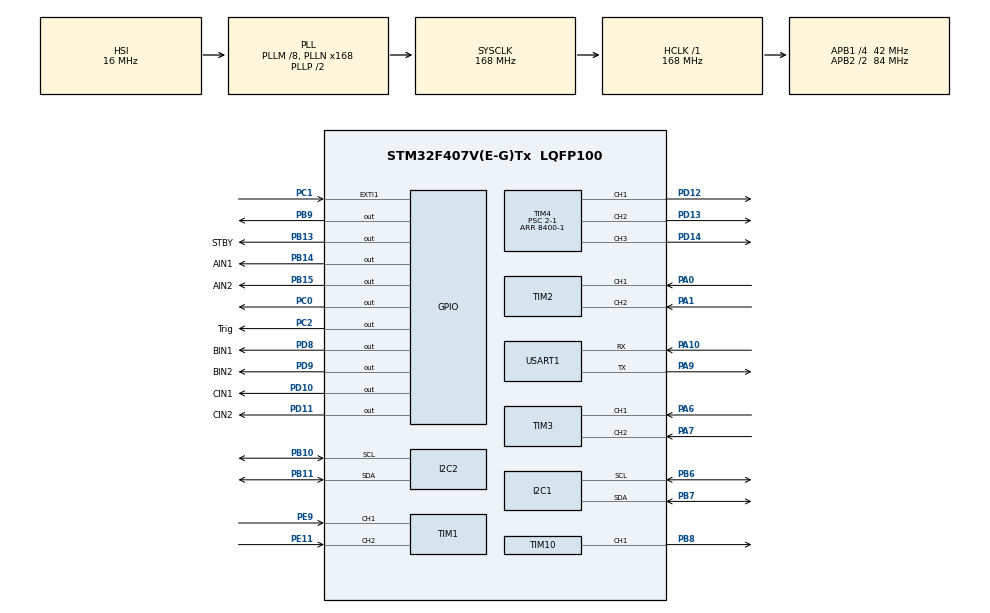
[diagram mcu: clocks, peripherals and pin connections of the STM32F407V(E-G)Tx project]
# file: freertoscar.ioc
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Dma.Request0=USART1_RX
Dma.USART1_RX.0.Direction=DMA_PERIPH_TO_MEMORY
Dma.USART1_RX.0.FIFOMode=DMA_FIFOMODE_DISABLE
Dma.USART1_RX.0.Instance=DMA2_Stream2
Dma.USART1_RX.0.MemDataAlignment=DMA_MDATAALIGN_BYTE
Dma.USART1_RX.0.MemInc=DMA_MINC_ENABLE
Dma.USART1_RX.0.Mode=DMA_NORMAL
Dma.USART1_RX.0.PeriphDataAlignment=DMA_PDATAALIGN_BYTE
Dma.USART1_RX.0.PeriphInc=DMA_PINC_DISABLE
Dma.USART1_RX.0.Priority=DMA_PRIORITY_VERY_HIGH
FREERTOS.Tasks01=defaultTask,16,128,StartDefaultTask,Default,NULL,Dynamic,NULL,NULL;PIDTask02,32,256,Pid_task,As external,NULL,Dynamic,NULL,NULL;UTTask,32,256,UT_Task,As external,NULL,Dynamic,NULL,NULL;mpu6050,25,256,Mpu6050,As external,NULL,Dynamic,NULL,NULL
I2C1.I2C_Mode=I2C_Standard
I2C2.I2C_Mode=I2C_Fast
Mcu.Family=STM32F4
Mcu.Name=STM32F407V(E-G)Tx
Mcu.Package=LQFP100
NVIC.DMA2_Stream2_IRQn=true\:5\:0\:false\:false\:true\:true\:false\:true\:true
NVIC.EXTI1_IRQn=true\:5\:0\:true\:false\:true\:true\:true\:true\:true
NVIC.PriorityGroup=NVIC_PRIORITYGROUP_4
NVIC.TIM1_TRG_COM_TIM11_IRQn=true\:15\:0\:false\:false\:true\:false\:false\:true\:true
NVIC.TIM8_UP_TIM13_IRQn=true\:5\:0\:true\:false\:true\:true\:true\:true\:true
NVIC.TimeBase=TIM1_TRG_COM_TIM11_IRQn
NVIC.TimeBaseIP=TIM11
NVIC.USART1_IRQn=true\:5\:0\:false\:false\:true\:true\:true\:true\:true
PA0-WKUP.GPIO_PuPd=GPIO_PULLUP
PA0-WKUP.Signal=S_TIM2_CH1_ETR
PA1.GPIO_PuPd=GPIO_PULLUP
PA1.Signal=S_TIM2_CH2
PA10.Mode=Asynchronous
PA10.Signal=USART1_RX
PA13.Mode=Serial_Wire
PA13.Signal=SYS_JTMS-SWDIO
PA14.Mode=Serial_Wire
PA14.Signal=SYS_JTCK-SWCLK
PA6.GPIO_PuPd=GPIO_PULLUP
PA6.Signal=S_TIM3_CH1
PA7.GPIO_PuPd=GPIO_PULLUP
PA7.Signal=S_TIM3_CH2
PA9.Mode=Asynchronous
PA9.Signal=USART1_TX
PB10.Mode=I2C
PB10.Signal=I2C2_SCL
PB11.Mode=I2C
PB11.Signal=I2C2_SDA
PB13.GPIO_Label=STBY
PB13.Signal=GPIO_Output
PB14.GPIO_Label=AIN1
PB14.Signal=GPIO_Output
PB15.GPIO_Label=AIN2
PB15.Signal=GPIO_Output
PB6.Mode=I2C
PB6.Signal=I2C1_SCL
PB7.Mode=I2C
PB7.Signal=I2C1_SDA
PB8.Signal=S_TIM10_CH1
PB9.GPIO_ModeDefaultOutputPP=GPIO_MODE_OUTPUT_PP
PB9.GPIO_PuPd=GPIO_NOPULL
PB9.Signal=GPIO_Output
PC0.Signal=GPIO_Output
PC1.GPIO_ModeDefaultEXTI=GPIO_MODE_IT_RISING_FALLING
PC1.Signal=GPXTI1
PC2.GPIO_Label=Trig
PC2.Signal=GPIO_Output
PD10.GPIO_Label=CIN1
PD10.Signal=GPIO_Output
PD11.GPIO_Label=CIN2
PD11.Signal=GPIO_Output
PD12.Signal=S_TIM4_CH1
PD13.Signal=S_TIM4_CH2
PD14.Signal=S_TIM4_CH3
PD8.GPIO_Label=BIN1
PD8.Signal=GPIO_Output
PD9.GPIO_Label=BIN2
PD9.Signal=GPIO_Output
PE11.GPIO_PuPd=GPIO_PULLUP
PE11.Signal=S_TIM1_CH2
PE9.GPIO_PuPd=GPIO_PULLUP
PE9.Signal=S_TIM1_CH1
PH0-OSC_IN.Mode=HSE-External-Oscillator
PH0-OSC_IN.Signal=RCC_OSC_IN
PH1-OSC_OUT.Mode=HSE-External-Oscillator
PH1-OSC_OUT.Signal=RCC_OSC_OUT
ProjectManager.HeapSize=0x200
ProjectManager.StackSize=0x400
ProjectManager.TargetToolchain=MDK-ARM V5.32
RCC.48MHZClocksFreq_Value=84000000
RCC.AHBFreq_Value=168000000
RCC.APB1CLKDivider=RCC_HCLK_DIV4
RCC.APB1Freq_Value=42000000
RCC.APB1TimFreq_Value=84000000
RCC.APB2CLKDivider=RCC_HCLK_DIV2
RCC.APB2Freq_Value=84000000
RCC.APB2TimFreq_Value=168000000
RCC.CortexFreq_Value=168000000
RCC.HCLKFreq_Value=168000000
RCC.HSE_VALUE=25000000
RCC.HSI_VALUE=16000000
RCC.LSE_VALUE=32768
RCC.PLLM=8
RCC.PLLN=168
RCC.SYSCLKFreq_VALUE=168000000
RCC.SYSCLKSource=RCC_SYSCLKSOURCE_PLLCLK
RCC.VCOOutputFreq_Value=336000000
SH.S_TIM10_CH1.0=TIM10_CH1,PWM Generation1 CH1
SH.S_TIM1_CH1.0=TIM1_CH1,Encoder_Interface
SH.S_TIM1_CH2.0=TIM1_CH2,Encoder_Interface
SH.S_TIM2_CH1_ETR.0=TIM2_CH1,Encoder_Interface
SH.S_TIM2_CH2.0=TIM2_CH2,Encoder_Interface
SH.S_TIM3_CH1.0=TIM3_CH1,Encoder_Interface
SH.S_TIM3_CH2.0=TIM3_CH2,Encoder_Interface
SH.S_TIM4_CH1.0=TIM4_CH1,PWM Generation1 CH1
SH.S_TIM4_CH2.0=TIM4_CH2,PWM Generation2 CH2
SH.S_TIM4_CH3.0=TIM4_CH3,PWM Generation3 CH3
TIM1.EncoderMode=TIM_ENCODERMODE_TI12
TIM1.IC1Filter=6
TIM1.IC2Filter=6
TIM10.Channel=TIM_CHANNEL_1
TIM10.Period=199
TIM10.Prescaler=16799
TIM2.EncoderMode=TIM_ENCODERMODE_TI12
TIM2.IC1Filter=6
TIM2.IC2Filter=6
TIM3.EncoderMode=TIM_ENCODERMODE_TI12
TIM3.IC1Filter=6
TIM3.IC2Filter=6
TIM4.Channel-PWM\ Generation1\ CH1=TIM_CHANNEL_1
TIM4.Channel-PWM\ Generation2\ CH2=TIM_CHANNEL_2
TIM4.Channel-PWM\ Generation3\ CH3=TIM_CHANNEL_3
TIM4.Period=8400-1
TIM4.Prescaler=2-1
TIM6.Prescaler=167
TIM7.Prescaler=167
TIM8.Period=16799
TIM8.Prescaler=199
USART1.VirtualMode=VM_ASYNC
VP_FREERTOS_VS_CMSIS_V2.Mode=CMSIS_V2
VP_SYS_VS_tim11.Mode=TIM11
VP_TIM10_VS_ClockSourceINT.Mode=Enable_Timer
VP_TIM4_VS_ClockSourceINT.Mode=Internal
VP_TIM6_VS_ClockSourceINT.Mode=Enable_Timer
VP_TIM7_VS_ClockSourceINT.Mode=Enable_Timer
VP_TIM8_VS_ClockSourceINT.Mode=Internal
board=custom

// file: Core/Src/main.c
/* USER CODE BEGIN Header */
/**
  ******************************************************************************
  * @file           : main.c
  * @brief          : Main program body
  ******************************************************************************
  * @attention
  *
  * Copyright (c) 2024 STMicroelectronics.
  * All rights reserved.
  *
  * This software is licensed under terms that can be found in the LICENSE file
  * in the root directory of this software component.
  * If no LICENSE file comes with this software, it is provided AS-IS.
  *
  ******************************************************************************
  */
/* USER CODE END Header */
#include "main.h"
#include "cmsis_os.h"
#include "dma.h"
#include "i2c.h"
#include "tim.h"
#include "usart.h"
#include "gpio.h"

/* USER CODE BEGIN Includes */
#include "stdio.h"
#include "oled.h"
#include "motor.h"
#include "UT.h"
#include "pid.h"
#include "Mpu6050\mpu6050.h"
#include "Mpu6050\eMPL\inv_mpu.h"
#include "Mpu6050\eMPL\inv_mpu_dmp_motion_driver.h"
/* USER CODE END Includes */

void SystemClock_Config(void);
void MX_FREERTOS_Init(void);

/* USER CODE BEGIN 0 */
uint8_t mood=0;       // 0:蓝牙遥控模式 1:超声波测距撞
uint8_t Rx_buff[9]; // 串口接收缓存
uint16_t x=0;
// oled显示
/*uint8_t OLED_Show_1[16] = {0};
uint8_t OLED_Show_2[16]  = {0};
uint8_t OLED_Show_3[16]  = {0};*/

/// @brief 串口接收的回调函数，用于蓝牙控制
void HAL_UART_RxCpltCallback(UART_HandleTypeDef *huart)
{
    if (Rx_buff[0] == 0xA5 && Rx_buff[8] == 0x5A) // 判断帧头帧尾
    {
        if (mood == 0) // 正常模式
        {
            Vx_set      = (fp32)Rx_buff[1];
            Vy_set      = (fp32)Rx_buff[2];
            Vw_set      = (fp32)Rx_buff[3];
            resert_flag = Rx_buff[4];
            mood        = Rx_buff[5];
            angle_set   = Rx_buff[6];
            if (Vx_set > 127) { Vx_set = -256 + Vx_set; }
            if (Vy_set > 127) { Vy_set = -256 + Vy_set; }
            if (Vw_set > 127) { Vw_set = -256 + Vw_set; }
            if (angle_set != 0) {
                Vx_set = Vy_set = 0;
                Vw_set          = 4;
            }
            if (servo_flag == 1) // 超声波模式下，如果直接切换到蓝牙模式，数据清0
            {
                angle      = 0;
                servo_flag = 0;
            }
        } else if (mood == 1) // 超声
        {
            resert_flag = Rx_buff[4];
            mood        = Rx_buff[5];
        }
    } else // 帧头帧尾错误
    {
        resert_flag = 1;
    }
    HAL_UART_Receive_DMA(&huart1, Rx_buff, 9);
}

/// @brief 超声波测距的回调函数。用于超声波
void HAL_GPIO_EXTI_Callback(uint16_t GPIO_Pin)
{
    if (GPIO_Pin == GPIO_PIN_1) {
        if (HAL_GPIO_ReadPin(GPIOC, GPIO_PIN_1) == GPIO_PIN_SET) {
            __HAL_TIM_SetCounter(&htim7, 0);
            HAL_TIM_Base_Start(&htim7);
        } else if (HAL_GPIO_ReadPin(GPIOC, GPIO_PIN_1) == GPIO_PIN_RESET) {
            HAL_TIM_Base_Stop(&htim7);
            time             = __HAL_TIM_GetCounter(&htim7);
            distance         = time * 0.017 * 2;
            distances[angle_val - 10] = distance;
            time             = 0;
        }
    }
}

/* USER CODE END 0 */

int main(void)
{

  /* MCU Configuration--------------------------------------------------------*/

  /* Reset of all peripherals, Initializes the Flash interface and the Systick. */
  HAL_Init();

  /* Configure the system clock */
  SystemClock_Config();

  /* Initialize all configured peripherals */
  MX_GPIO_Init();
  MX_DMA_Init();
  MX_I2C1_Init();
  MX_TIM1_Init();
  MX_TIM2_Init();
  MX_TIM3_Init();
  MX_TIM4_Init();
  MX_USART1_UART_Init();
  MX_TIM10_Init();
  MX_TIM6_Init();
  MX_TIM7_Init();
  MX_I2C2_Init();
  MX_TIM8_Init();
  /* USER CODE BEGIN 2 */
  HAL_UART_Receive_DMA(&huart1, Rx_buff, 9);
  OLED_Init();
  /*  MPU_Init();
  MPU_Set_LPF(2);
  while (mpu_dmp_init()) {
      HAL_Delay(200);
  }*/
  Motor_Init();
  Servo_Init();
  resert_flag = 0;
  OLED_ShowString(0, 0, "Init complete", 13);
  OLED_Clear();
  OLED_ShowString(0, 0, "MOOD:", 5);
  OLED_ShowString(0, 2, "BLUEMOOD", 8);
  Buzz_Start();
  /* USER CODE END 2 */

  /* Init scheduler */
  osKernelInitialize();

  /* Call init function for freertos objects (in cmsis_os2.c) */
  MX_FREERTOS_Init();

  /* Start scheduler */
  osKernelStart();

  /* We should never get here as control is now taken by the scheduler */

  /* Infinite loop */
  while (1)
  {

  }
}

void SystemClock_Config(void)
{
  RCC_OscInitTypeDef RCC_OscInitStruct = {0};
  RCC_ClkInitTypeDef RCC_ClkInitStruct = {0};

  /** Configure the main internal regulator output voltage
  */
  __HAL_RCC_PWR_CLK_ENABLE();
  __HAL_PWR_VOLTAGESCALING_CONFIG(PWR_REGULATOR_VOLTAGE_SCALE1);

  /** Initializes the RCC Oscillators according to the specified parameters
  * in the RCC_OscInitTypeDef structure.
  */
  RCC_OscInitStruct.OscillatorType = RCC_OSCILLATORTYPE_HSI;
  RCC_OscInitStruct.HSIState = RCC_HSI_ON;
  RCC_OscInitStruct.HSICalibrationValue = RCC_HSICALIBRATION_DEFAULT;
  RCC_OscInitStruct.PLL.PLLState = RCC_PLL_ON;
  RCC_OscInitStruct.PLL.PLLSource = RCC_PLLSOURCE_HSI;
  RCC_OscInitStruct.PLL.PLLM = 8;
  RCC_OscInitStruct.PLL.PLLN = 168;
  RCC_OscInitStruct.PLL.PLLP = RCC_PLLP_DIV2;
  RCC_OscInitStruct.PLL.PLLQ = 4;
  if (HAL_RCC_OscConfig(&RCC_OscInitStruct) != HAL_OK)
  {
    Error_Handler();
  }

  /** Initializes the CPU, AHB and APB buses clocks
  */
  RCC_ClkInitStruct.ClockType = RCC_CLOCKTYPE_HCLK|RCC_CLOCKTYPE_SYSCLK
                              |RCC_CLOCKTYPE_PCLK1|RCC_CLOCKTYPE_PCLK2;
  RCC_ClkInitStruct.SYSCLKSource = RCC_SYSCLKSOURCE_PLLCLK;
  RCC_ClkInitStruct.AHBCLKDivider = RCC_SYSCLK_DIV1;
  RCC_ClkInitStruct.APB1CLKDivider = RCC_HCLK_DIV4;
  RCC_ClkInitStruct.APB2CLKDivider = RCC_HCLK_DIV2;

  if (HAL_RCC_ClockConfig(&RCC_ClkInitStruct, FLASH_LATENCY_5) != HAL_OK)
  {
    Error_Handler();
  }
}

void HAL_TIM_PeriodElapsedCallback(TIM_HandleTypeDef *htim)
{
  if (htim->Instance == TIM11) {
    HAL_IncTick();
  }
}

void Error_Handler(void)
{
  __disable_irq();
  while (1)
  {
  }
}

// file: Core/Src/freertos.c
/* USER CODE BEGIN Header */
/**
  ******************************************************************************
  * File Name          : freertos.c
  * Description        : Code for freertos applications
  ******************************************************************************
  * @attention
  *
  * Copyright (c) 2024 STMicroelectronics.
  * All rights reserved.
  *
  * This software is licensed under terms that can be found in the LICENSE file
  * in the root directory of this software component.
  * If no LICENSE file comes with this software, it is provided AS-IS.
  *
  ******************************************************************************
  */
/* USER CODE END Header */

#include "FreeRTOS.h"
#include "task.h"
#include "main.h"
#include "cmsis_os.h"

/* Definitions for defaultTask */
osThreadId_t defaultTaskHandle;
const osThreadAttr_t defaultTask_attributes = {
  .name = "defaultTask",
  .stack_size = 128 * 4,
  .priority = (osPriority_t) osPriorityBelowNormal,
};
/* Definitions for PIDTask02 */
osThreadId_t PIDTask02Handle;
const osThreadAttr_t PIDTask02_attributes = {
  .name = "PIDTask02",
  .stack_size = 256 * 4,
  .priority = (osPriority_t) osPriorityAboveNormal,
};
/* Definitions for UTTask */
osThreadId_t UTTaskHandle;
const osThreadAttr_t UTTask_attributes = {
  .name = "UTTask",
  .stack_size = 256 * 4,
  .priority = (osPriority_t) osPriorityAboveNormal1,
};
/* Definitions for mpu6050 */
osThreadId_t mpu6050Handle;
const osThreadAttr_t mpu6050_attributes = {
  .name = "mpu6050",
  .stack_size = 256 * 4,
  .priority = (osPriority_t) osPriorityNormal,
};

void StartDefaultTask(void *argument);
extern void Pid_task(void *argument);
extern void UT_Task(void *argument);
extern void Mpu6050(void *argument);

void MX_FREERTOS_Init(void); /* (MISRA C 2004 rule 8.1) */

void MX_FREERTOS_Init(void) {

  /* Create the thread(s) */
  /* creation of defaultTask */
  defaultTaskHandle = osThreadNew(StartDefaultTask, NULL, &defaultTask_attributes);

  /* creation of PIDTask02 */
  PIDTask02Handle = osThreadNew(Pid_task, NULL, &PIDTask02_attributes);

  /* creation of UTTask */
  UTTaskHandle = osThreadNew(UT_Task, NULL, &UTTask_attributes);

  /* creation of mpu6050 */
  mpu6050Handle = osThreadNew(Mpu6050, NULL, &mpu6050_attributes);

}

void StartDefaultTask(void *argument)
{
  /* USER CODE BEGIN StartDefaultTask */
  /* Infinite loop */
    TickType_t xLastWakeTime;
    const TickType_t xDelayms = pdMS_TO_TICKS(1000);
    xLastWakeTime             = xTaskGetTickCount();
  for(;;)
  {
        HAL_GPIO_TogglePin(GPIOC,GPIO_PIN_0);
        vTaskDelayUntil(&xLastWakeTime, xDelayms);
  }
  /* USER CODE END StartDefaultTask */
}
